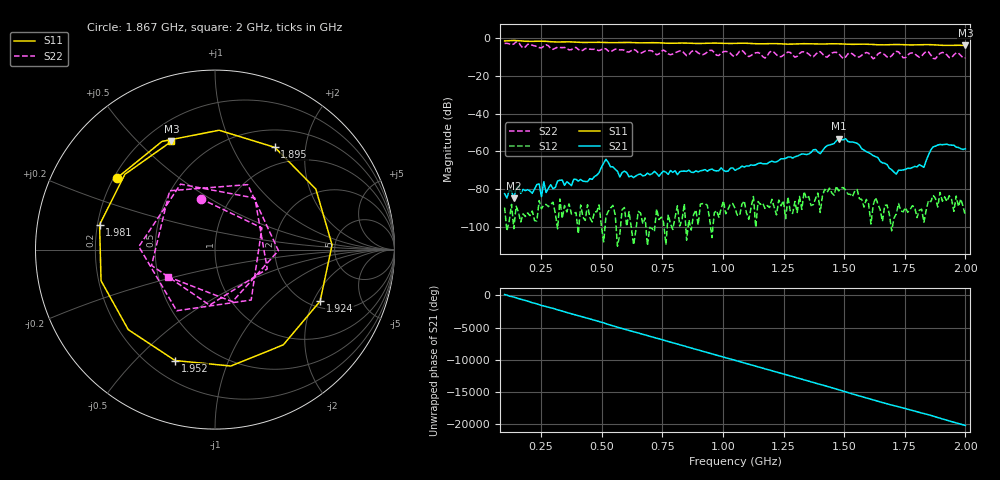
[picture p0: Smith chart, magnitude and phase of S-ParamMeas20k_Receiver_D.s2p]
!Keysight Technologies,N5242B,MY48420967,A.15.65.19
!Date: Saturday, February 04, 2023 00:57:57
!Correction: S11(C  1-Port  )
!S21(Off)
!S12(Off)
!S22(Off)
!S2P File: Measurements: S11, S21, S12, S22:
# Hz S  dB  R 50
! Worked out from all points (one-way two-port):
!   201 points, 100 MHz to 2 GHz, reference 50 ohm
!   highest |S21| = -53.22 dB at 1.478 GHz (marker M1); lowest = -85.1 dB at 138 MHz (marker M2)
!   lowest |S11| = -3.7 dB at 2 GHz (marker M3), VSWR 4.71, Z = 15.1 + j31.6 ohm
!   |S11| at or under -10 dB: nowhere
!   |S22| runs from -10.8 to -1.8 dB; largest |S21 - S12| = 0.0022
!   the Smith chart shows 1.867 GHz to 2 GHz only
!   S11 on the Smith chart (normalised r, x): 1.867 GHz: 0.21, +0.31; 1.895 GHz: 0.73, +1.48; 1.924 GHz: 2.26, -2.26; 1.952 GHz: 0.30, -0.66; 1.981 GHz: 0.21, +0.10; 2 GHz: 0.30, +0.63
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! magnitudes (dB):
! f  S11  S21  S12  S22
! 100 MHz  -1.3  -82.5  -89.9  -2.6
! 138 MHz  -1.1  -85.1  -101.2  -2.9
! 423 MHz  -2.1  -75.9  -95.0  -6.3
! 480 MHz  -2.0  -72.7  -92.1  -6.2
! 518 MHz  -2.2  -64.2  -94.5  -5.6
! 575 MHz  -2.1  -73.7  -104.1  -6.1
! 736.5 MHz  -2.3  -73.3  -96.3  -8.2
! 1.05 GHz  -2.6  -70.1  -90.4  -9.6
! 1.079 GHz  -2.5  -67.9  -88.2  -6.3
! 1.373 GHz  -2.9  -59.2  -88.4  -9.7
! 1.401 GHz  -3.0  -61.3  -92.6  -7.0
! 1.478 GHz  -2.8  -53.2  -81.1  -8.0
! 1.554 GHz  -3.1  -55.7  -80.3  -10.0
! 1.687 GHz  -3.3  -69.0  -93.4  -10.2
! 1.715 GHz  -3.2  -72.1  -93.3  -6.9
! 1.829 GHz  -3.3  -68.5  -97.7  -8.0
! 1.867 GHz  -3.4  -57.6  -83.4  -10.6
! 1.895 GHz  -3.6  -56.4  -81.9  -7.9
! 1.924 GHz  -3.7  -56.2  -86.7  -8.8
! 1.952 GHz  -3.7  -56.8  -91.9  -8.8
! 1.981 GHz  -3.6  -58.6  -85.3  -9.0
! 2 GHz  -3.7  -58.6  -94.4  -10.3
